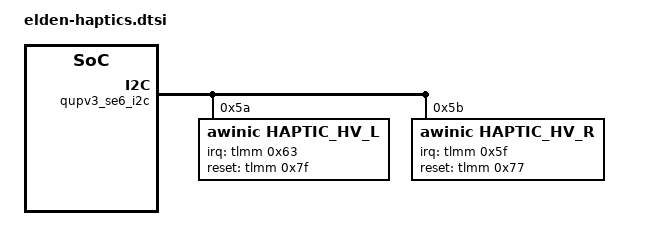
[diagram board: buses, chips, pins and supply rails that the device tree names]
// SPDX-License-Identifier: GPL-2.0-only
/* stock fragment@30 */
&tlmm {

	vib_reset_l: vib_reset_l {

		mux {
			pins = "gpio127";
			function = "gpio";
		};

		config {
			pins = "gpio127";
			bias-pull-up;
		};
	};

	vib_reset_r: vib_reset_r {

		mux {
			pins = "gpio119";
			function = "gpio";
		};

		config {
			pins = "gpio119";
			bias-pull-up;
		};
	};
};

/* stock fragment@31 */
&qupv3_se6_i2c {
	status = "ok";
	qcom,clk-freq-out = <0xf4240>;

	haptic_hv_l@5A {
		compatible = "awinic,haptic_hv_l";
		reg = <0x5a>;
		irq-gpio = <&tlmm 0x63 0x0>;
		reset-gpio = <&tlmm 0x7f 0x0>;
		pinctrl-names = "default";
		pinctrl-0 = <&vib_reset_l>;
		f0_pre = <0x6a4>;
		mode = [05];
		aw8693x_f0_cali_percent = [0f];
		aw8693x_gain_bypass = [01];
		aw8693x_uvlo_vol_default = [00];
		aw8693x_cont_smart_loop = [00];
		aw8693x_cont_drv1_lvl = [7f];
		aw8693x_cont_lra_vrms = <0x3e8>;
		aw8693x_cont_drv1_time = [04];
		aw8693x_cont_drv2_time = [14];
		aw8693x_cont_track_margin = [0f];
		aw8693x_cont_brk_gain = [08];
		aw8693x_cont_brk_time = [04];
		aw8693x_duration_time = [14 1e 3c];
		aw8693x_d2s_gain = [02];
		aw8693x_trig_config = <0x1 0x20000 0x1 0x20000 0x1 0x20000>;
		aw8693x_bst_vol_default = <0x2134>;
		aw8693x_is_enabled_track_en;
	};

	haptic_hv_r@5B {
		compatible = "awinic,haptic_hv_r";
		reg = <0x5b>;
		irq-gpio = <&tlmm 0x5f 0x0>;
		reset-gpio = <&tlmm 0x77 0x0>;
		pinctrl-names = "default";
		pinctrl-0 = <&vib_reset_r>;
		f0_pre = <0x6a4>;
		mode = [05];
		aw8693x_f0_cali_percent = [0f];
		aw8693x_gain_bypass = [01];
		aw8693x_uvlo_vol_default = [00];
		aw8693x_cont_smart_loop = [00];
		aw8693x_cont_drv1_lvl = [7f];
		aw8693x_cont_lra_vrms = <0x3e8>;
		aw8693x_cont_drv1_time = [04];
		aw8693x_cont_drv2_time = [14];
		aw8693x_cont_track_margin = [0f];
		aw8693x_cont_brk_gain = [08];
		aw8693x_cont_brk_time = [04];
		aw8693x_duration_time = [14 1e 3c];
		aw8693x_d2s_gain = [02];
		aw8693x_trig_config = <0x1 0x20000 0x1 0x20000 0x1 0x20000>;
		aw8693x_bst_vol_default = <0x2134>;
		aw8693x_is_enabled_track_en;
	};
};
